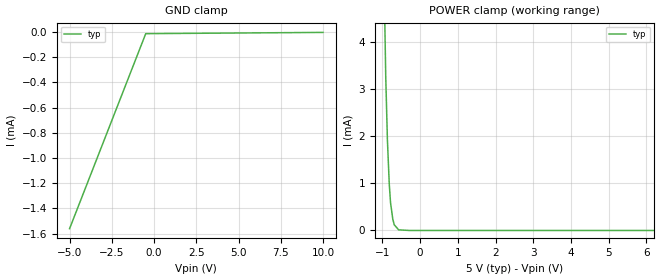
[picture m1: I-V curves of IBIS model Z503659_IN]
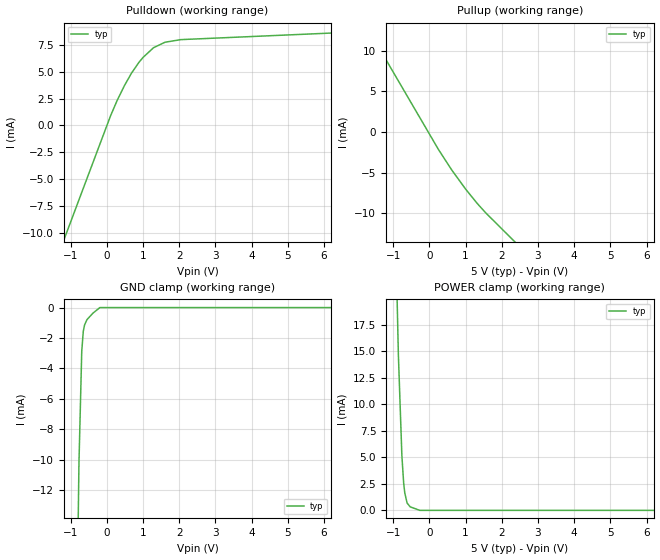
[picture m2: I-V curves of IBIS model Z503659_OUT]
| YOU ARE ONLY AUTHORIZED TO USE THIS SOFTWARE
| ACCORDING TO LICENSOR'S LICENSE RESTRICTIONS.
[IBIS Ver] 3.1
[File Name] mc14541bcl.ibs
[File Rev] 2.0
[Source] Measured and created by ICX Technology
[Date] Friday 7/14/00 9:07:57 AM
[Copyright]
| (C) COPYRIGHT 1993-2000
| MENTOR GRAPHICS CORPORATION
| ICX STANDARD LIBRARY, ICX PROJECT MODELING,
| ICX CUSTOM MODELING, ICX VENDOR MODEL
| ALL RIGHTS RESERVED.
| THE FOLLOWING ARE TRADEMARKS OR SERVICE MARKS OF
| MENTOR GRAPHICS CORPORATION:ICX (R), ICX STANDARD
| LIBRARY(R), ICX PROJECT MODELING(R), ICX CUSTOM
| MODELING(R), qualityIBIS(TM), MODELVIEWER(TM),
| AND MODELEDITOR(TM)
| ALL COPIES OF SOFTWARE, INCLUDING BUT NOT LIMITED TO
| ANY MODIFICATIONS, ENHANCEMENTS OR DERIVATIVE WORKS,
| MUST CONTAIN ALL MENTOR GRAPHICS CORPORATION'S
| NOTICES AND LEGENDS, INCLUDING THOSE EMBEDDED IN
| SOFTWARE AND THOSE AFFIXED TO SOFTWARE MEDIUM
| AND CONTAINER, AS RECEIVED FROM MENTOR GRAPHICS
| CORPORATION.
|  ZAP Model Builder 2.7
[Component] MC14541BCL
[Manufacturer] OnSemiconductor
[Package]
| variable   typ   min   max
R_pkg  .21ohms NA NA
L_pkg  4.543nH NA NA
C_pkg  1.8pF NA NA
[Pin] signal_name  model_name  R_pin  L_pin C_pin
1 RTC Z503659_IN .22 6.757n 2.434p
2 CTC Z503659_IN .212 4.757n 1.941p
3 RS Z503659_IN .204 3.257n 1.448p
4 NC NC .196 2.257n .955p
5 AR Z503659_IN .204 3.257n 1.448p
6 MR Z503659_IN .212 4.757n 1.941p
7 VSS POWER .22 6.757n 2.434p
8 Q Z503659_OUT .22 6.757n 2.434p
9 Q/_QSEL Z503659_IN .212 4.757n 1.941p
10 MODE Z503659_IN .204 3.257n 1.448p
11 NC NC .196 2.257n .955p
12 A Z503659_IN .204 3.257n 1.448p
13 B Z503659_IN .212 4.757n 1.941p
14 VDD POWER .22 6.757n 2.434p
| Models and submodels in the file (2): Z503659_IN (Input), Z503659_OUT (Output)
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| (C) COPYRIGHT 1993-2000
| MENTOR GRAPHICS CORPORATION
| ICX STANDARD LIBRARY, ICX PROJECT MODELING,
| ICX CUSTOM MODELING, ICX VENDOR MODEL
| ALL RIGHTS RESERVED.
| THE FOLLOWING ARE TRADEMARKS OR SERVICE MARKS OF
| MENTOR GRAPHICS CORPORATION:ICX (R), ICX STANDARD
| LIBRARY(R), ICX PROJECT MODELING(R), ICX CUSTOM
| MODELING(R), qualityIBIS(TM), MODELVIEWER(TM),
| AND MODELEDITOR(TM)
| ALL COPIES OF SOFTWARE, INCLUDING BUT NOT LIMITED TO
| ANY MODIFICATIONS, ENHANCEMENTS OR DERIVATIVE WORKS,
| MUST CONTAIN ALL MENTOR GRAPHICS CORPORATION'S
| NOTICES AND LEGENDS, INCLUDING THOSE EMBEDDED IN
| SOFTWARE AND THOSE AFFIXED TO SOFTWARE MEDIUM
| AND CONTAINER, AS RECEIVED FROM MENTOR GRAPHICS
| CORPORATION.
| Model Application Version 1.89 2/18/99.
[Model] Z503659_IN
Model_type Input
Vinl = 1.500V
Vinh = 3.500V
C_comp 4.000pF NA NA
| variable typ   min   max
[Voltage Range] 5.000V NA NA
[GND Clamp Reference] 0.000V NA NA
[POWER Clamp Reference] 5.000V NA NA
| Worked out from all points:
|   POWER clamp passes 1 mA (typ) near -0.82 V on its own axis
[GND Clamp]
-5V       -1.56mA    NA         NA
-493.1mV  -12.92uA   NA         NA
10V       -2.868uA   NA         NA
[POWER Clamp]
-5V       276.9mA    NA         NA
-1.01V    7.768mA    NA         NA
-913mV    3.26mA     NA         NA
-869mV    1.924mA    NA         NA
-820mV    990.1uA    NA         NA
-785mV    582.8uA    NA         NA
-725mV    236.8uA    NA         NA
-688mV    121.8uA    NA         NA
-571mV    13.28uA    NA         NA
-285.5mV  0A         NA         NA
10V       0A         NA         NA
| (C) COPYRIGHT 1993-2000
| MENTOR GRAPHICS CORPORATION
| ICX STANDARD LIBRARY, ICX PROJECT MODELING,
| ICX CUSTOM MODELING, ICX VENDOR MODEL
| ALL RIGHTS RESERVED.
| THE FOLLOWING ARE TRADEMARKS OR SERVICE MARKS OF
| MENTOR GRAPHICS CORPORATION:ICX (R), ICX STANDARD
| LIBRARY(R), ICX PROJECT MODELING(R), ICX CUSTOM
| MODELING(R), qualityIBIS(TM), MODELVIEWER(TM),
| AND MODELEDITOR(TM)
| ALL COPIES OF SOFTWARE, INCLUDING BUT NOT LIMITED TO
| ANY MODIFICATIONS, ENHANCEMENTS OR DERIVATIVE WORKS,
| MUST CONTAIN ALL MENTOR GRAPHICS CORPORATION'S
| NOTICES AND LEGENDS, INCLUDING THOSE EMBEDDED IN
| SOFTWARE AND THOSE AFFIXED TO SOFTWARE MEDIUM
| AND CONTAINER, AS RECEIVED FROM MENTOR GRAPHICS
| CORPORATION.
| Model Application Version 1.89 2/18/99.
[Model] Z503659_OUT
Model_type Output
Vref=0.000V
Rref=500.0Mohms
Cref=50.00pF
Vmeas=2.500V
C_comp 8.000pF NA NA
| variable typ   min   max
[Voltage Range] 5.000V NA NA
[POWER Clamp Reference] 5.000V NA NA
[Pullup Reference] 5.000V NA NA
[Pulldown Reference] 0.000V NA NA
[GND Clamp Reference] 0.000V NA NA
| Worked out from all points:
|   slope of the pulldown table from 0 to 0.75 V, typ, clamps not added: 144 ohm
|   slope of the pullup table from 0 to 0.75 V, typ, clamps not added: 143 ohm
|   GND clamp passes 1 mA (typ) near -0.59 V on its own axis
|   POWER clamp passes 1 mA (typ) near -0.64 V on its own axis
[GND Clamp]
-5V       -780.4mA   NA         NA
-773.8mV  -10.26mA   NA         NA
-696.4mV  -2.874mA   NA         NA
-654.3mV  -1.566mA   NA         NA
-619mV    -1.146mA   NA         NA
-551.1mV  -790.8uA   NA         NA
-389.9mV  -373.5uA   NA         NA
-194.9mV  0A         NA         NA
10V       0A         NA         NA
[Pulldown]
-5V       -44.87mA   NA         NA
97.66mV   885.3uA    NA         NA
283.2mV   2.345mA    NA         NA
488.3mV   3.751mA    NA         NA
675.5mV   4.866mA    NA         NA
883.9mV   5.887mA    NA         NA
1.001V    6.358mA    NA         NA
1.289V    7.259mA    NA         NA
1.606V    7.766mA    NA         NA
2.041V    8.009mA    NA         NA
10V       9.182mA    NA         NA
[Pullup]
-5V       37.84mA    NA         NA
244mV     -2.104mA   NA         NA
616mV     -4.66mA    NA         NA
1.011V    -7.078mA   NA         NA
1.333V    -8.839mA   NA         NA
1.562V    -9.962mA   NA         NA
10V       -47.3mA    NA         NA
[POWER Clamp]
-5V       639.7mA    NA         NA
-859mV    14.7mA     NA         NA
-762mV    5.18mA     NA         NA
-713mV    2.583mA    NA         NA
-682mV    1.658mA    NA         NA
-618mV    694.3uA    NA         NA
-532mV    330.4uA    NA         NA
-266mV    0A         NA         NA
10V       0A         NA         NA
[Ramp]
| variable typ min max
dV/dt_r 2.869/10.31n NA NA
dV/dt_f 2.869/11.81n NA NA
R_load = 2.500kOhms
